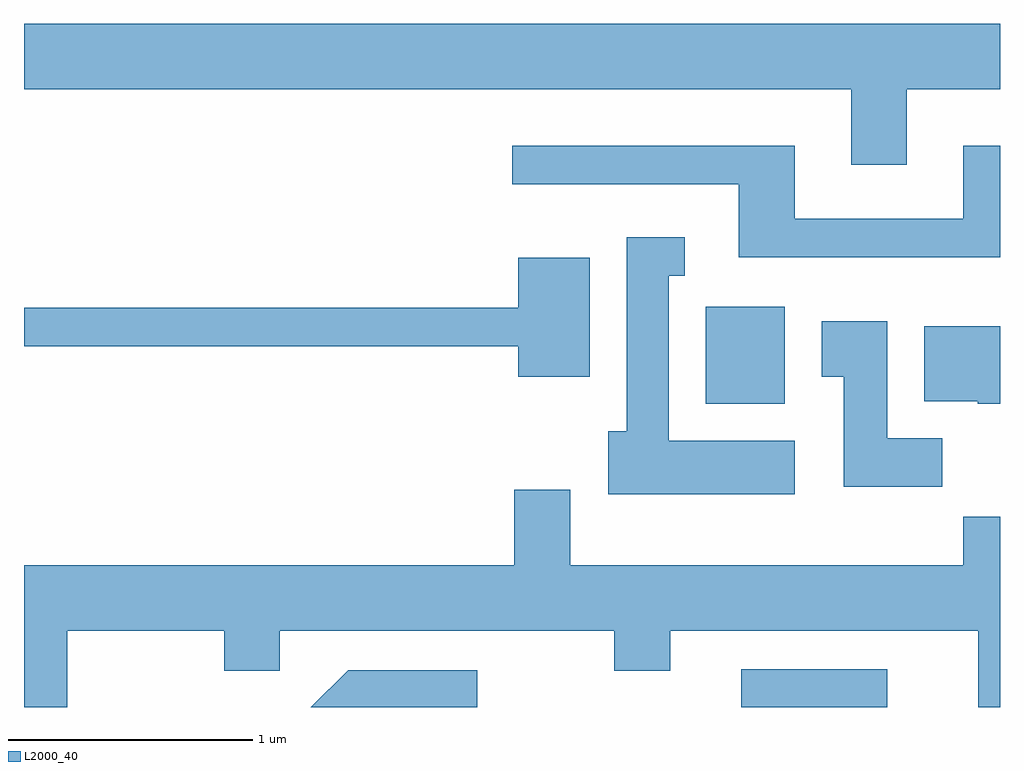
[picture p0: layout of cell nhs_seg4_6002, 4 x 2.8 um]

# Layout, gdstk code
import gdstk
lib = gdstk.Library(unit=1e-6, precision=1e-09)
def R(c, l, rs):  # rectangles x0, y0, x1, y1
    for r in rs: c.add(gdstk.rectangle(r[:2], r[2:], *l))
def P(c, l, *ps):  # polygons
    for p in ps: c.add(gdstk.Polygon(p, *l))
L2000_40 = (2000, 40)

nhs_seg4_6002 = lib.new_cell('nhs_seg4_6002')
R(nhs_seg4_6002, L2000_40, [(364.551,1289.982,365.148,1290.139), (364.406,1291.226,364.729,1291.624)])
P(nhs_seg4_6002, L2000_40, [(365.229,1292.516),(365.611,1292.516),(365.611,1292.784),(361.611,1292.784),(361.611,1292.516),(365.001,1292.516),(365.001,1292.206),(365.229,1292.206)],
  [(365.611,1292.284),(365.461,1292.284),(365.461,1291.984),(364.769,1291.984),(364.769,1292.284),(363.613,1292.284),(363.613,1292.126),(364.541,1292.126),(364.541,1291.826),(365.611,1291.826)],
  [(364.769,1291.074),(364.254,1291.074),(364.254,1291.751),(364.318,1291.751),(364.318,1291.909),(364.081,1291.909),(364.081,1291.114),(364.006,1291.114),(364.006,1290.856),(364.769,1290.856)],
  [(363.929,1291.824),(363.636,1291.824),(363.636,1291.619),(361.611,1291.619),(361.611,1291.461),(363.636,1291.461),(363.636,1291.336),(363.929,1291.336)],
  [(365.374,1291.084),(365.149,1291.084),(365.149,1291.564),(364.881,1291.564),(364.881,1291.336),(364.971,1291.336),(364.971,1290.886),(365.374,1290.886)],
  [(365.611,1291.544),(365.301,1291.544),(365.301,1291.236),(365.52,1291.236),(365.52,1291.226),(365.611,1291.226)],
  [(361.789,1290.296),(362.431,1290.296),(362.431,1290.131),(362.659,1290.131),(362.659,1290.296),(364.031,1290.296),(364.031,1290.131),(364.259,1290.131),(364.259,1290.296),(365.521,1290.296),(365.521,1289.982),(365.611,1289.982),(365.611,1290.764),(365.461,1290.764),(365.461,1290.564),(363.849,1290.564),(363.849,1290.874),(363.621,1290.874),(363.621,1290.564),(361.611,1290.564),(361.611,1289.982),(361.789,1289.982)],
  [(363.468,1290.134),(362.939,1290.134),(362.786,1289.982),(363.468,1289.982)])

lib.write_gds('nhs_seg4_6002.gds')
